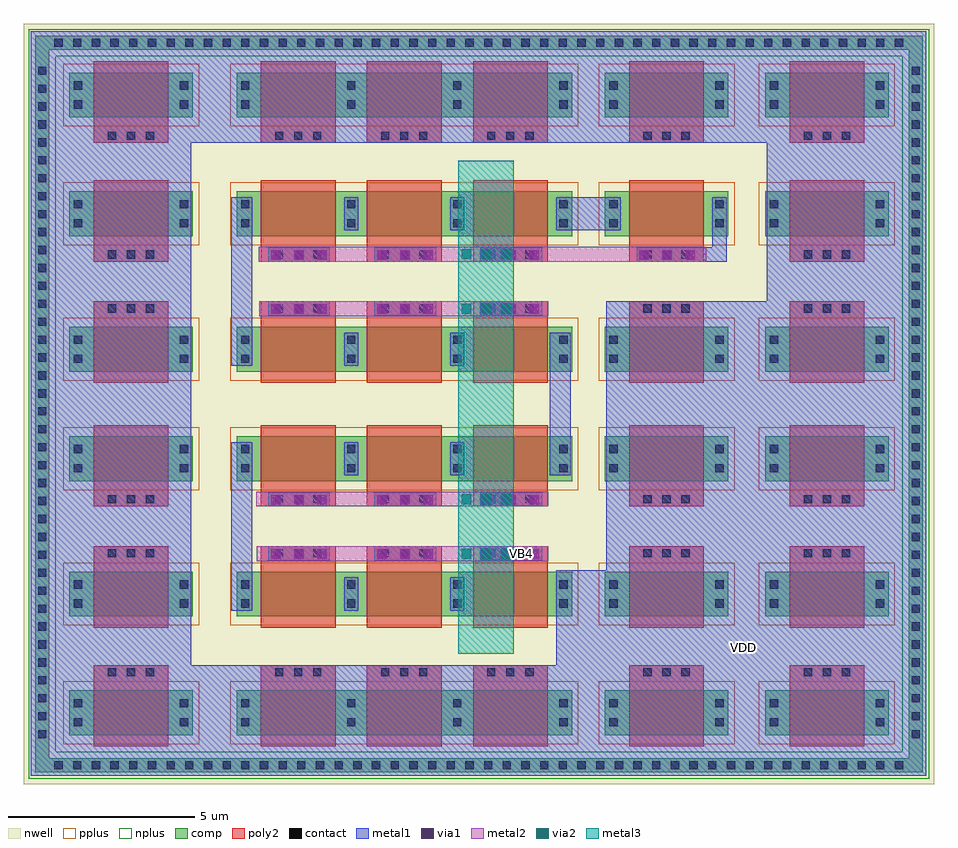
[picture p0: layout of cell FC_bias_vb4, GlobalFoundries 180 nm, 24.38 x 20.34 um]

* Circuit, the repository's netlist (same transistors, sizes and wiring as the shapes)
** sch_path: /home/gmaranhao/Desktop/Bracolin/TIA_Filter/Folded/FC_bias_vb4.sch
.subckt FC_bias_vb4 VDD VB4
*.PININFO VDD:B VB4:B
M3 net1 VB4 VDD VDD pfet_03v3 L=2u W=1.2u nf=1 m=1
M4 net3 VB4 net1 VDD pfet_03v3 L=2u W=1.2u nf=1 m=1
M5 net2 VB4 net3 VDD pfet_03v3 L=2u W=1.2u nf=1 m=1
M6 net7 VB4 net2 VDD pfet_03v3 L=2u W=1.2u nf=1 m=1
M7 net4 VB4 net7 VDD pfet_03v3 L=2u W=1.2u nf=1 m=1
M8 net6 VB4 net4 VDD pfet_03v3 L=2u W=1.2u nf=1 m=1
M9 net5 VB4 net6 VDD pfet_03v3 L=2u W=1.2u nf=1 m=1
M10 net8 VB4 net5 VDD pfet_03v3 L=2u W=1.2u nf=1 m=1
M11 net12 VB4 net8 VDD pfet_03v3 L=2u W=1.2u nf=1 m=1
M12 net9 VB4 net12 VDD pfet_03v3 L=2u W=1.2u nf=1 m=1
M13 net11 VB4 net9 VDD pfet_03v3 L=2u W=1.2u nf=1 m=1
M14 net10 VB4 net11 VDD pfet_03v3 L=2u W=1.2u nf=1 m=1
M17 VB4 VB4 net10 VDD pfet_03v3 L=2u W=1.2u nf=1 m=1
M1[1] VDD VDD VDD VDD pfet_03v3 L=2u W=1.2u nf=1 m=1
M1[2] VDD VDD VDD VDD pfet_03v3 L=2u W=1.2u nf=1 m=1
M1[3] VDD VDD VDD VDD pfet_03v3 L=2u W=1.2u nf=1 m=1
M1[4] VDD VDD VDD VDD pfet_03v3 L=2u W=1.2u nf=1 m=1
M1[5] VDD VDD VDD VDD pfet_03v3 L=2u W=1.2u nf=1 m=1
M1[6] VDD VDD VDD VDD pfet_03v3 L=2u W=1.2u nf=1 m=1
M1[7] VDD VDD VDD VDD pfet_03v3 L=2u W=1.2u nf=1 m=1
M1[8] VDD VDD VDD VDD pfet_03v3 L=2u W=1.2u nf=1 m=1
M1[9] VDD VDD VDD VDD pfet_03v3 L=2u W=1.2u nf=1 m=1
M1[10] VDD VDD VDD VDD pfet_03v3 L=2u W=1.2u nf=1 m=1
M1[11] VDD VDD VDD VDD pfet_03v3 L=2u W=1.2u nf=1 m=1
M1[12] VDD VDD VDD VDD pfet_03v3 L=2u W=1.2u nf=1 m=1
M1[13] VDD VDD VDD VDD pfet_03v3 L=2u W=1.2u nf=1 m=1
M1[14] VDD VDD VDD VDD pfet_03v3 L=2u W=1.2u nf=1 m=1
M1[15] VDD VDD VDD VDD pfet_03v3 L=2u W=1.2u nf=1 m=1
M1[16] VDD VDD VDD VDD pfet_03v3 L=2u W=1.2u nf=1 m=1
M1[17] VDD VDD VDD VDD pfet_03v3 L=2u W=1.2u nf=1 m=1
M1[18] VDD VDD VDD VDD pfet_03v3 L=2u W=1.2u nf=1 m=1
M1[19] VDD VDD VDD VDD pfet_03v3 L=2u W=1.2u nf=1 m=1
M1[20] VDD VDD VDD VDD pfet_03v3 L=2u W=1.2u nf=1 m=1
M1[21] VDD VDD VDD VDD pfet_03v3 L=2u W=1.2u nf=1 m=1
M1[22] VDD VDD VDD VDD pfet_03v3 L=2u W=1.2u nf=1 m=1
M1[23] VDD VDD VDD VDD pfet_03v3 L=2u W=1.2u nf=1 m=1
.ends
.end

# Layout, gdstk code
from math import pi, radians
import gdstk
lib = gdstk.Library(unit=1e-6, precision=1e-09)
def R(c, l, rs):  # rectangles x0, y0, x1, y1
    for r in rs: c.add(gdstk.rectangle(r[:2], r[2:], *l))
def A(c, l, x, y, w, h, nx, ny, dx, dy):  # array of equal rectangles
    R(c, l, [(x+i*dx, y+j*dy, x+i*dx+w, y+j*dy+h) for i in range(nx) for j in range(ny)])
nwell = (21, 0)
comp = (22, 0)
poly2 = (30, 0)
pplus = (31, 0)
nplus = (32, 0)
contact = (33, 0)
metal1 = (34, 0)
via1 = (35, 0)
metal2 = (36, 0)
via2 = (38, 0)
metal3 = (42, 0)

pfet = lib.new_cell('pfet')
R(pfet, nwell, [(-0.9,-0.44,3.28,1.64)])
R(pfet, comp, [(-0.46,0,0,1.2), (0,0,2.38,1.2), (2.38,0,2.84,1.2)])
R(pfet, poly2, [(0.19,-0.3,2.19,1.5), (0.19,1.5,2.19,1.88)])
R(pfet, pplus, [(-0.63,-0.24,3.01,1.44)])
A(pfet, contact, 0.57, 1.58, 0.22, 0.22, 3, 1, 0.51, 0)
R(pfet, contact, [(-0.34,0.235,-0.12,0.455), (2.5,0.235,2.72,0.455), (-0.34,0.745,-0.12,0.965), (2.5,0.745,2.72,0.965)])
R(pfet, metal1, [(-0.42,0.155,-0.04,1.045), (2.42,0.155,2.8,1.045), (0.49,1.5,1.89,1.88)])

fc_bias_vb4 = lib.new_cell('FC_bias_vb4')
R(fc_bias_vb4, nwell, [(-6.99,-3.91,17.39,16.435)])
R(fc_bias_vb4, comp, [(-6.685,-3.595,17.085,-3.215), (-6.685,-3.425,-6.305,16.125), (16.705,-3.425,17.085,16.125), (-6.64,15.745,17.085,16.125)])
R(fc_bias_vb4, nplus, [(-6.855,-3.765,17.255,-3.045), (16.535,-3.325,17.255,15.865), (-6.855,-3.18,-6.135,15.865), (-6.855,15.575,17.255,16.295)])
A(fc_bias_vb4, contact, -6.165, -3.515, 0.22, 0.22, 46, 2, 0.5, 19.34)
A(fc_bias_vb4, contact, -6.605, -2.685, 0.22, 0.22, 1, 38, 0, 0.48)
A(fc_bias_vb4, contact, 16.785, -2.685, 0.22, 0.22, 1, 38, 0, 0.48)
A(fc_bias_vb4, metal1, -0.44, 2.075, 1.65, 0.38, 3, 2, 2.84, 1.445)
A(fc_bias_vb4, metal1, -0.44, 8.63, 1.65, 0.38, 3, 2, 2.84, 1.445)
R(fc_bias_vb4, metal1, [(-6.795,-3.685,-2.505,16.24), (-3.195,-3.685,16.125,-0.725), (12.905,-3.685,17.175,14.98), (7.27,-0.915,8.855,1.81), (8.61,-0.815,13.15,9.01), (-1.435,0.73,-0.87,5.245), (7.095,4.355,7.65,8.175), (-1.435,7.285,-0.87,11.8), (9.42,10.075,11.54,10.455), (11.45,10.075,11.83,10.975), (7.27,10.91,8.87,11.8), (-3.195,13.255,17.175,16.24)])
R(fc_bias_vb4, via1, [(-0.37,2.125,-0.11,2.385), (-0.37,2.125,-0.11,2.385), (-0.37,2.125,-0.11,2.385), (-0.37,2.125,-0.11,2.385), (-0.37,2.125,-0.11,2.385), (-0.37,2.125,-0.11,2.385), (-0.37,2.125,-0.11,2.385), (-0.37,2.125,-0.11,2.385), (0.25,2.125,0.51,2.385), (0.25,2.125,0.51,2.385), (0.25,2.125,0.51,2.385), (0.25,2.125,0.51,2.385), (0.25,2.125,0.51,2.385), (0.25,2.125,0.51,2.385), (0.25,2.125,0.51,2.385), (0.25,2.125,0.51,2.385), (0.87,2.125,1.13,2.385), (0.87,2.125,1.13,2.385), (0.87,2.125,1.13,2.385), (0.87,2.125,1.13,2.385), (0.87,2.125,1.13,2.385), (0.87,2.125,1.13,2.385), (0.87,2.125,1.13,2.385), (0.87,2.125,1.13,2.385), (2.47,2.125,2.73,2.385), (2.47,2.125,2.73,2.385), (2.47,2.125,2.73,2.385), (2.47,2.125,2.73,2.385), (2.47,2.125,2.73,2.385), (2.47,2.125,2.73,2.385), (2.47,2.125,2.73,2.385), (2.47,2.125,2.73,2.385), (3.09,2.125,3.35,2.385), (3.09,2.125,3.35,2.385), (3.09,2.125,3.35,2.385), (3.09,2.125,3.35,2.385), (3.09,2.125,3.35,2.385), (3.09,2.125,3.35,2.385), (3.09,2.125,3.35,2.385), (3.09,2.125,3.35,2.385), (3.71,2.125,3.97,2.385), (3.71,2.125,3.97,2.385), (3.71,2.125,3.97,2.385), (3.71,2.125,3.97,2.385), (3.71,2.125,3.97,2.385), (3.71,2.125,3.97,2.385), (3.71,2.125,3.97,2.385), (3.71,2.125,3.97,2.385), (5.31,2.125,5.57,2.385), (5.31,2.125,5.57,2.385), (5.31,2.125,5.57,2.385), (5.31,2.125,5.57,2.385), (5.31,2.125,5.57,2.385), (5.31,2.125,5.57,2.385), (5.31,2.125,5.57,2.385), (5.31,2.125,5.57,2.385), (5.93,2.125,6.19,2.385), (5.93,2.125,6.19,2.385), (5.93,2.125,6.19,2.385), (5.93,2.125,6.19,2.385), (5.93,2.125,6.19,2.385), (5.93,2.125,6.19,2.385), (5.93,2.125,6.19,2.385), (5.93,2.125,6.19,2.385), (6.55,2.125,6.81,2.385), (6.55,2.125,6.81,2.385), (6.55,2.125,6.81,2.385), (6.55,2.125,6.81,2.385), (6.55,2.125,6.81,2.385), (6.55,2.125,6.81,2.385), (6.55,2.125,6.81,2.385), (6.55,2.125,6.81,2.385), (-0.37,3.57,-0.11,3.83), (-0.37,3.57,-0.11,3.83), (-0.37,3.57,-0.11,3.83), (-0.37,3.57,-0.11,3.83), (-0.37,3.57,-0.11,3.83), (-0.37,3.57,-0.11,3.83), (-0.37,3.57,-0.11,3.83), (-0.37,3.57,-0.11,3.83), (0.25,3.57,0.51,3.83), (0.25,3.57,0.51,3.83), (0.25,3.57,0.51,3.83), (0.25,3.57,0.51,3.83), (0.25,3.57,0.51,3.83), (0.25,3.57,0.51,3.83), (0.25,3.57,0.51,3.83), (0.25,3.57,0.51,3.83), (0.87,3.57,1.13,3.83), (0.87,3.57,1.13,3.83), (0.87,3.57,1.13,3.83), (0.87,3.57,1.13,3.83), (0.87,3.57,1.13,3.83), (0.87,3.57,1.13,3.83), (0.87,3.57,1.13,3.83), (0.87,3.57,1.13,3.83), (2.47,3.57,2.73,3.83), (2.47,3.57,2.73,3.83), (2.47,3.57,2.73,3.83), (2.47,3.57,2.73,3.83), (2.47,3.57,2.73,3.83), (2.47,3.57,2.73,3.83), (2.47,3.57,2.73,3.83), (2.47,3.57,2.73,3.83), (3.09,3.57,3.35,3.83), (3.09,3.57,3.35,3.83), (3.09,3.57,3.35,3.83), (3.09,3.57,3.35,3.83), (3.09,3.57,3.35,3.83), (3.09,3.57,3.35,3.83), (3.09,3.57,3.35,3.83), (3.09,3.57,3.35,3.83), (3.71,3.57,3.97,3.83), (3.71,3.57,3.97,3.83), (3.71,3.57,3.97,3.83), (3.71,3.57,3.97,3.83), (3.71,3.57,3.97,3.83), (3.71,3.57,3.97,3.83), (3.71,3.57,3.97,3.83), (3.71,3.57,3.97,3.83), (5.31,3.57,5.57,3.83), (5.31,3.57,5.57,3.83), (5.31,3.57,5.57,3.83), (5.31,3.57,5.57,3.83), (5.31,3.57,5.57,3.83), (5.31,3.57,5.57,3.83), (5.31,3.57,5.57,3.83), (5.31,3.57,5.57,3.83), (5.93,3.57,6.19,3.83), (5.93,3.57,6.19,3.83), (5.93,3.57,6.19,3.83), (5.93,3.57,6.19,3.83), (5.93,3.57,6.19,3.83), (5.93,3.57,6.19,3.83), (5.93,3.57,6.19,3.83), (5.93,3.57,6.19,3.83), (6.55,3.57,6.81,3.83), (6.55,3.57,6.81,3.83), (6.55,3.57,6.81,3.83), (6.55,3.57,6.81,3.83), (6.55,3.57,6.81,3.83), (6.55,3.57,6.81,3.83), (6.55,3.57,6.81,3.83), (6.55,3.57,6.81,3.83), (-0.37,8.68,-0.11,8.94), (-0.37,8.68,-0.11,8.94), (-0.37,8.68,-0.11,8.94), (-0.37,8.68,-0.11,8.94), (-0.37,8.68,-0.11,8.94), (-0.37,8.68,-0.11,8.94), (-0.37,8.68,-0.11,8.94), (-0.37,8.68,-0.11,8.94), (0.25,8.68,0.51,8.94), (0.25,8.68,0.51,8.94), (0.25,8.68,0.51,8.94), (0.25,8.68,0.51,8.94), (0.25,8.68,0.51,8.94), (0.25,8.68,0.51,8.94), (0.25,8.68,0.51,8.94), (0.25,8.68,0.51,8.94), (0.87,8.68,1.13,8.94), (0.87,8.68,1.13,8.94), (0.87,8.68,1.13,8.94), (0.87,8.68,1.13,8.94), (0.87,8.68,1.13,8.94), (0.87,8.68,1.13,8.94), (0.87,8.68,1.13,8.94), (0.87,8.68,1.13,8.94), (2.47,8.68,2.73,8.94), (2.47,8.68,2.73,8.94), (2.47,8.68,2.73,8.94), (2.47,8.68,2.73,8.94), (2.47,8.68,2.73,8.94), (2.47,8.68,2.73,8.94), (2.47,8.68,2.73,8.94), (2.47,8.68,2.73,8.94), (3.09,8.68,3.35,8.94), (3.09,8.68,3.35,8.94), (3.09,8.68,3.35,8.94), (3.09,8.68,3.35,8.94), (3.09,8.68,3.35,8.94), (3.09,8.68,3.35,8.94), (3.09,8.68,3.35,8.94), (3.09,8.68,3.35,8.94), (3.71,8.68,3.97,8.94), (3.71,8.68,3.97,8.94), (3.71,8.68,3.97,8.94), (3.71,8.68,3.97,8.94), (3.71,8.68,3.97,8.94), (3.71,8.68,3.97,8.94), (3.71,8.68,3.97,8.94), (3.71,8.68,3.97,8.94), (5.31,8.68,5.57,8.94), (5.31,8.68,5.57,8.94), (5.31,8.68,5.57,8.94), (5.31,8.68,5.57,8.94), (5.31,8.68,5.57,8.94), (5.31,8.68,5.57,8.94), (5.31,8.68,5.57,8.94), (5.31,8.68,5.57,8.94), (5.93,8.68,6.19,8.94), (5.93,8.68,6.19,8.94), (5.93,8.68,6.19,8.94), (5.93,8.68,6.19,8.94), (5.93,8.68,6.19,8.94), (5.93,8.68,6.19,8.94), (5.93,8.68,6.19,8.94), (5.93,8.68,6.19,8.94), (6.55,8.68,6.81,8.94), (6.55,8.68,6.81,8.94), (6.55,8.68,6.81,8.94), (6.55,8.68,6.81,8.94), (6.55,8.68,6.81,8.94), (6.55,8.68,6.81,8.94), (6.55,8.68,6.81,8.94), (6.55,8.68,6.81,8.94), (-0.37,10.125,-0.11,10.385), (-0.37,10.125,-0.11,10.385), (-0.37,10.125,-0.11,10.385), (-0.37,10.125,-0.11,10.385), (-0.37,10.125,-0.11,10.385), (-0.37,10.125,-0.11,10.385), (-0.37,10.125,-0.11,10.385), (-0.37,10.125,-0.11,10.385), (0.25,10.125,0.51,10.385), (0.25,10.125,0.51,10.385), (0.25,10.125,0.51,10.385), (0.25,10.125,0.51,10.385), (0.25,10.125,0.51,10.385), (0.25,10.125,0.51,10.385), (0.25,10.125,0.51,10.385), (0.25,10.125,0.51,10.385), (0.87,10.125,1.13,10.385), (0.87,10.125,1.13,10.385), (0.87,10.125,1.13,10.385), (0.87,10.125,1.13,10.385), (0.87,10.125,1.13,10.385), (0.87,10.125,1.13,10.385), (0.87,10.125,1.13,10.385), (0.87,10.125,1.13,10.385), (2.47,10.125,2.73,10.385), (2.47,10.125,2.73,10.385), (2.47,10.125,2.73,10.385), (2.47,10.125,2.73,10.385), (2.47,10.125,2.73,10.385), (2.47,10.125,2.73,10.385), (2.47,10.125,2.73,10.385), (2.47,10.125,2.73,10.385), (3.09,10.125,3.35,10.385), (3.09,10.125,3.35,10.385), (3.09,10.125,3.35,10.385), (3.09,10.125,3.35,10.385), (3.09,10.125,3.35,10.385), (3.09,10.125,3.35,10.385), (3.09,10.125,3.35,10.385), (3.09,10.125,3.35,10.385), (3.71,10.125,3.97,10.385), (3.71,10.125,3.97,10.385), (3.71,10.125,3.97,10.385), (3.71,10.125,3.97,10.385), (3.71,10.125,3.97,10.385), (3.71,10.125,3.97,10.385), (3.71,10.125,3.97,10.385), (3.71,10.125,3.97,10.385), (5.31,10.125,5.57,10.385), (5.31,10.125,5.57,10.385), (5.31,10.125,5.57,10.385), (5.31,10.125,5.57,10.385), (5.31,10.125,5.57,10.385), (5.31,10.125,5.57,10.385), (5.31,10.125,5.57,10.385), (5.31,10.125,5.57,10.385), (5.93,10.125,6.19,10.385), (5.93,10.125,6.19,10.385), (5.93,10.125,6.19,10.385), (5.93,10.125,6.19,10.385), (5.93,10.125,6.19,10.385), (5.93,10.125,6.19,10.385), (5.93,10.125,6.19,10.385), (5.93,10.125,6.19,10.385), (6.55,10.125,6.81,10.385), (6.55,10.125,6.81,10.385), (6.55,10.125,6.81,10.385), (6.55,10.125,6.81,10.385), (6.55,10.125,6.81,10.385), (6.55,10.125,6.81,10.385), (6.55,10.125,6.81,10.385), (6.55,10.125,6.81,10.385), (9.49,10.125,9.75,10.385), (9.49,10.125,9.75,10.385), (9.49,10.125,9.75,10.385), (9.49,10.125,9.75,10.385), (9.49,10.125,9.75,10.385), (9.49,10.125,9.75,10.385), (9.49,10.125,9.75,10.385), (9.49,10.125,9.75,10.385), (10.11,10.125,10.37,10.385), (10.11,10.125,10.37,10.385), (10.11,10.125,10.37,10.385), (10.11,10.125,10.37,10.385), (10.11,10.125,10.37,10.385), (10.11,10.125,10.37,10.385), (10.11,10.125,10.37,10.385), (10.11,10.125,10.37,10.385), (10.73,10.125,10.99,10.385), (10.73,10.125,10.99,10.385), (10.73,10.125,10.99,10.385), (10.73,10.125,10.99,10.385), (10.73,10.125,10.99,10.385), (10.73,10.125,10.99,10.385), (10.73,10.125,10.99,10.385), (10.73,10.125,10.99,10.385)])
R(fc_bias_vb4, metal2, [(-0.755,2.055,7.06,2.455), (-0.765,3.52,7.06,3.92), (-0.68,8.61,7.05,9.01), (-0.69,10.075,11.285,10.475)])
R(fc_bias_vb4, via2, [(4.735,2.125,4.995,2.385), (4.735,2.125,4.995,2.385), (5.265,2.125,5.525,2.385), (5.265,2.125,5.525,2.385), (5.795,2.125,6.055,2.385), (5.795,2.125,6.055,2.385), (4.735,3.585,4.995,3.845), (4.735,3.585,4.995,3.845), (5.265,3.585,5.525,3.845), (5.265,3.585,5.525,3.845), (5.795,3.585,6.055,3.845), (5.795,3.585,6.055,3.845), (4.735,8.68,4.995,8.94), (4.735,8.68,4.995,8.94), (5.265,8.68,5.525,8.94), (5.265,8.68,5.525,8.94), (5.795,8.68,6.055,8.94), (5.795,8.68,6.055,8.94), (4.735,10.145,4.995,10.405), (4.735,10.145,4.995,10.405), (5.265,10.145,5.525,10.405), (5.265,10.145,5.525,10.405), (5.795,10.145,6.055,10.405), (5.795,10.145,6.055,10.405)])
R(fc_bias_vb4, metal3, [(4.65,-0.42,6.13,12.78)])
fc_bias_vb4.add(gdstk.Reference(pfet, (-0.83,0.575)))
fc_bias_vb4.add(gdstk.Reference(pfet, (2.01,0.575)))
fc_bias_vb4.add(gdstk.Reference(pfet, (4.85,0.575)))
fc_bias_vb4.add(gdstk.Reference(pfet, (-0.83,7.13)))
fc_bias_vb4.add(gdstk.Reference(pfet, (2.01,7.13)))
fc_bias_vb4.add(gdstk.Reference(pfet, (4.85,7.13)))
fc_bias_vb4.add(gdstk.Reference(pfet, (7.23,11.955), rotation=pi))
fc_bias_vb4.add(gdstk.Reference(pfet, (4.39,11.955), rotation=pi))
fc_bias_vb4.add(gdstk.Reference(pfet, (1.55,11.955), rotation=pi))
fc_bias_vb4.add(gdstk.Reference(pfet, (4.39,5.4), rotation=pi))
fc_bias_vb4.add(gdstk.Reference(pfet, (1.55,5.4), rotation=pi))
fc_bias_vb4.add(gdstk.Reference(pfet, (9.03,0.575)))
fc_bias_vb4.add(gdstk.Reference(pfet, (7.23,5.4), rotation=pi))
fc_bias_vb4.add(gdstk.Reference(pfet, (11.41,5.4), rotation=pi))
fc_bias_vb4.add(gdstk.Reference(pfet, (9.03,7.13)))
fc_bias_vb4.add(gdstk.Reference(pfet, (11.41,11.955), rotation=pi))
fc_bias_vb4.add(gdstk.Reference(pfet, (-5.305,0.575)))
fc_bias_vb4.add(gdstk.Reference(pfet, (-5.305,7.13)))
fc_bias_vb4.add(gdstk.Reference(pfet, (-2.925,11.955), rotation=pi))
fc_bias_vb4.add(gdstk.Reference(pfet, (-2.925,5.4), rotation=pi))
fc_bias_vb4.add(gdstk.Reference(pfet, (13.325,0.575)))
fc_bias_vb4.add(gdstk.Reference(pfet, (13.325,7.13)))
fc_bias_vb4.add(gdstk.Reference(pfet, (15.705,11.955), rotation=pi))
fc_bias_vb4.add(gdstk.Reference(pfet, (15.705,5.4), rotation=pi))
fc_bias_vb4.add(gdstk.Reference(pfet, (7.23,15.135), rotation=pi))
fc_bias_vb4.add(gdstk.Reference(pfet, (4.39,15.135), rotation=pi))
fc_bias_vb4.add(gdstk.Reference(pfet, (1.55,15.135), rotation=pi))
fc_bias_vb4.add(gdstk.Reference(pfet, (11.41,15.135), rotation=pi))
fc_bias_vb4.add(gdstk.Reference(pfet, (-2.925,15.135), rotation=pi))
fc_bias_vb4.add(gdstk.Reference(pfet, (15.705,15.135), rotation=pi))
fc_bias_vb4.add(gdstk.Reference(pfet, (-0.83,-2.605)))
fc_bias_vb4.add(gdstk.Reference(pfet, (2.01,-2.605)))
fc_bias_vb4.add(gdstk.Reference(pfet, (4.85,-2.605)))
fc_bias_vb4.add(gdstk.Reference(pfet, (9.03,-2.605)))
fc_bias_vb4.add(gdstk.Reference(pfet, (-5.305,-2.605)))
fc_bias_vb4.add(gdstk.Reference(pfet, (13.325,-2.605)))
fc_bias_vb4.add(gdstk.Label('VDD', (12.28,-0.25), layer=34, texttype=10))
fc_bias_vb4.add(gdstk.Label('VB4', (6.325,2.265), layer=34, texttype=10))

lib.write_gds('FC_bias_vb4.gds')
